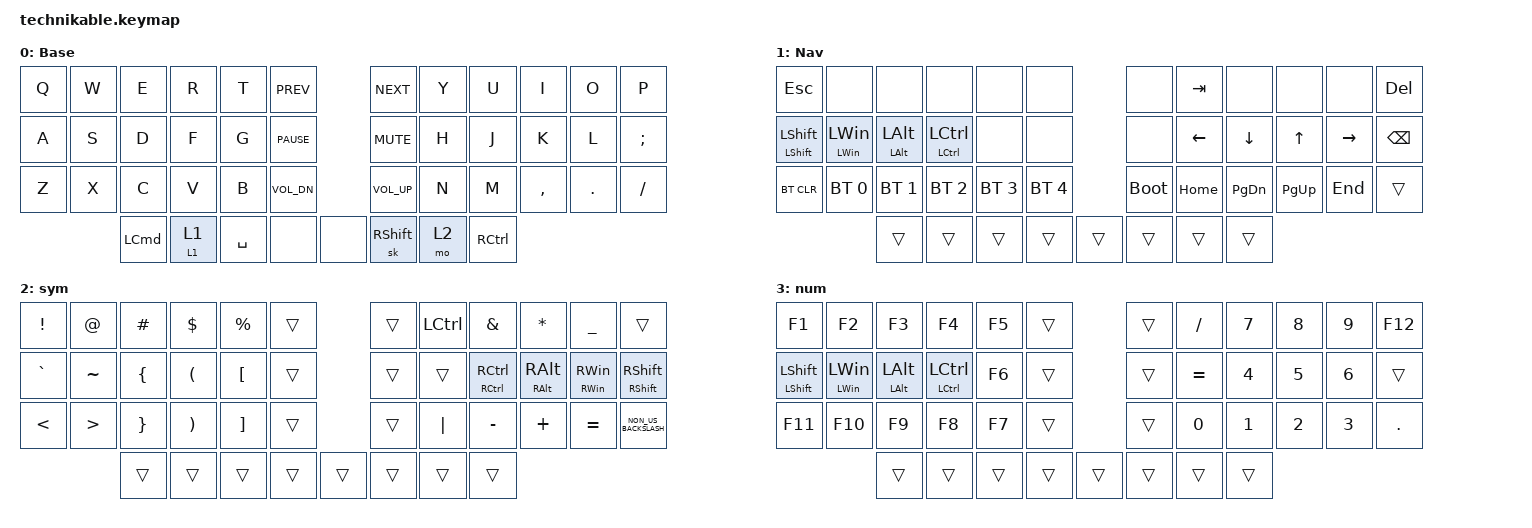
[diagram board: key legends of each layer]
/*
 * Copyright (c) 2022 Pete Johanson
 *
 * SPDX-License-Identifier: MIT
 */

#include <behaviors.dtsi>
#include <dt-bindings/zmk/bt.h>
#include <dt-bindings/zmk/keys.h>

#define BAS_L 0
#define NAV_L 1
#define NUM_L 2
#define SYM_L 3

// Using layer taps on thumbs, having quick tap as well helps w/ repeating space/backspace

&lt { quick_tap_ms = <200>; };

/ {
    chosen { zmk,matrix_transform = &ortho_transform; };

    conditional_layers {
        compatible = "zmk,conditional-layers";

        tri_layer {
            if-layers = <1 2>;
            then-layer = <3>;
        };
    };

    combos {
        compatible = "zmk,combos";

        rbkt {
            bindings = <&kp RBKT>;
            key-positions = <8 9>;
        };

        lbkt {
            bindings = <&kp LBKT>;
            key-positions = <3 2>;
        };

        esc {
            bindings = <&kp ESC>;
            key-positions = <1 2>;
        };

        bspc {
            bindings = <&kp BSPC>;
            key-positions = <20 21>;
        };

        tab {
            bindings = <&kp TAB>;
            key-positions = <25 26>;
        };

        enter {
            bindings = <&kp ENTER>;
            key-positions = <33 34>;
        };
    };

    behaviors {
        nk: no_so_sticky_key {
            compatible = "zmk,behavior-hold-tap";
            label = "NO_SO_STICKY_KEY";
            bindings = <&kp>, <&sk>;

            #binding-cells = <2>;
            tapping-term-ms = <200>;
            flavor = "tap-preferred";
        };

        sh: sticky_hold {
            compatible = "zmk,behavior-hold-tap";
            label = "STICKY_HOLD";
            bindings = <&mo>, <&sl>;

            #binding-cells = <2>;
            tapping-term-ms = <250>;
        };

        mo_tap: mo_with_tap {
            compatible = "zmk,behavior-hold-tap";
            label = "MO_WITH_TAP";
            bindings = <&mo>, <&kp>;

            #binding-cells = <2>;
            tapping-term-ms = <0>;
            retro-tap;
        };
    };

    keymap {
        compatible = "zmk,keymap";

        base {
            label = "Base";
            bindings = <
&kp Q  &kp W  &kp E     &kp R    &kp T      &kp C_PREV           &kp C_NEXT       &kp Y  &kp U      &kp I      &kp O    &kp P
&kp A  &kp S  &kp D     &kp F    &kp G      &kp C_PAUSE          &kp C_MUTE       &kp H  &kp J      &kp K      &kp L    &kp SEMI
&kp Z  &kp X  &kp C     &kp V    &kp B      &kp C_VOL_DN         &kp C_VOLUME_UP  &kp N  &kp M      &kp COMMA  &kp DOT  &kp FSLH
              &kp LCMD  &sh 1 1  &kp SPACE  &none         &none  &sk RIGHT_SHIFT  &mo 2  &kp RCTRL
            >;
        };

        navigation {
            label = "Nav";
            bindings = <
&kp ESC                    &none                  &none              &none            &none         &none                 &none        &kp TAB   &none      &none      &none      &kp DEL
&nk LEFT_SHIFT LEFT_SHIFT  &nk LEFT_WIN LEFT_WIN  &nk LEFT_ALT LALT  &nk LCTRL LCTRL  &none         &none                 &none        &kp LEFT  &kp DOWN   &kp UP     &kp RIGHT  &kp BACKSPACE
&bt BT_CLR                 &bt BT_SEL 0           &bt BT_SEL 1       &bt BT_SEL 2     &bt BT_SEL 3  &bt BT_SEL 4          &bootloader  &kp HOME  &kp PG_DN  &kp PG_UP  &kp END    &trans
                                                  &trans             &trans           &trans        &trans        &trans  &trans       &trans    &trans
            >;
        };

        symbols {
            bindings = <
&kp EXCLAMATION  &kp AT            &kp HASH         &kp DOLLAR             &kp PERCENT        &trans          &trans  &kp LCTRL  &kp AMPERSAND    &kp ASTERISK   &kp UNDERSCORE  &trans
&kp GRAVE        &kp TILDE         &kp LEFT_BRACE   &kp LEFT_PARENTHESIS   &kp LEFT_BRACKET   &trans          &trans  &trans     &nk RCTRL RCTRL  &nk RALT RALT  &nk RWIN RWIN   &nk RSHIFT RSHIFT
&kp LESS_THAN    &kp GREATER_THAN  &kp RIGHT_BRACE  &kp RIGHT_PARENTHESIS  &kp RIGHT_BRACKET  &trans          &trans  &kp PIPE   &kp MINUS        &kp PLUS       &kp EQUAL       &kp NON_US_BACKSLASH
                                   &trans           &trans                 &trans             &trans  &trans  &trans  &trans     &trans
            >;

            label = "sym";
        };

        numbers {
            bindings = <
&kp F1                     &kp F2                 &kp F3             &kp F4           &kp F5  &trans          &trans  &kp FSLH   &kp N7  &kp N8  &kp N9  &kp F12
&nk LEFT_SHIFT LEFT_SHIFT  &nk LEFT_WIN LEFT_WIN  &nk LEFT_ALT LALT  &nk LCTRL LCTRL  &kp F6  &trans          &trans  &kp EQUAL  &kp N4  &kp N5  &kp N6  &trans
&kp F11                    &kp F10                &kp F9             &kp F8           &kp F7  &trans          &trans  &kp N0     &kp N1  &kp N2  &kp N3  &kp DOT
                                                  &trans             &trans           &trans  &trans  &trans  &trans  &trans     &trans
            >;

            label = "num";
        };
    };
};
